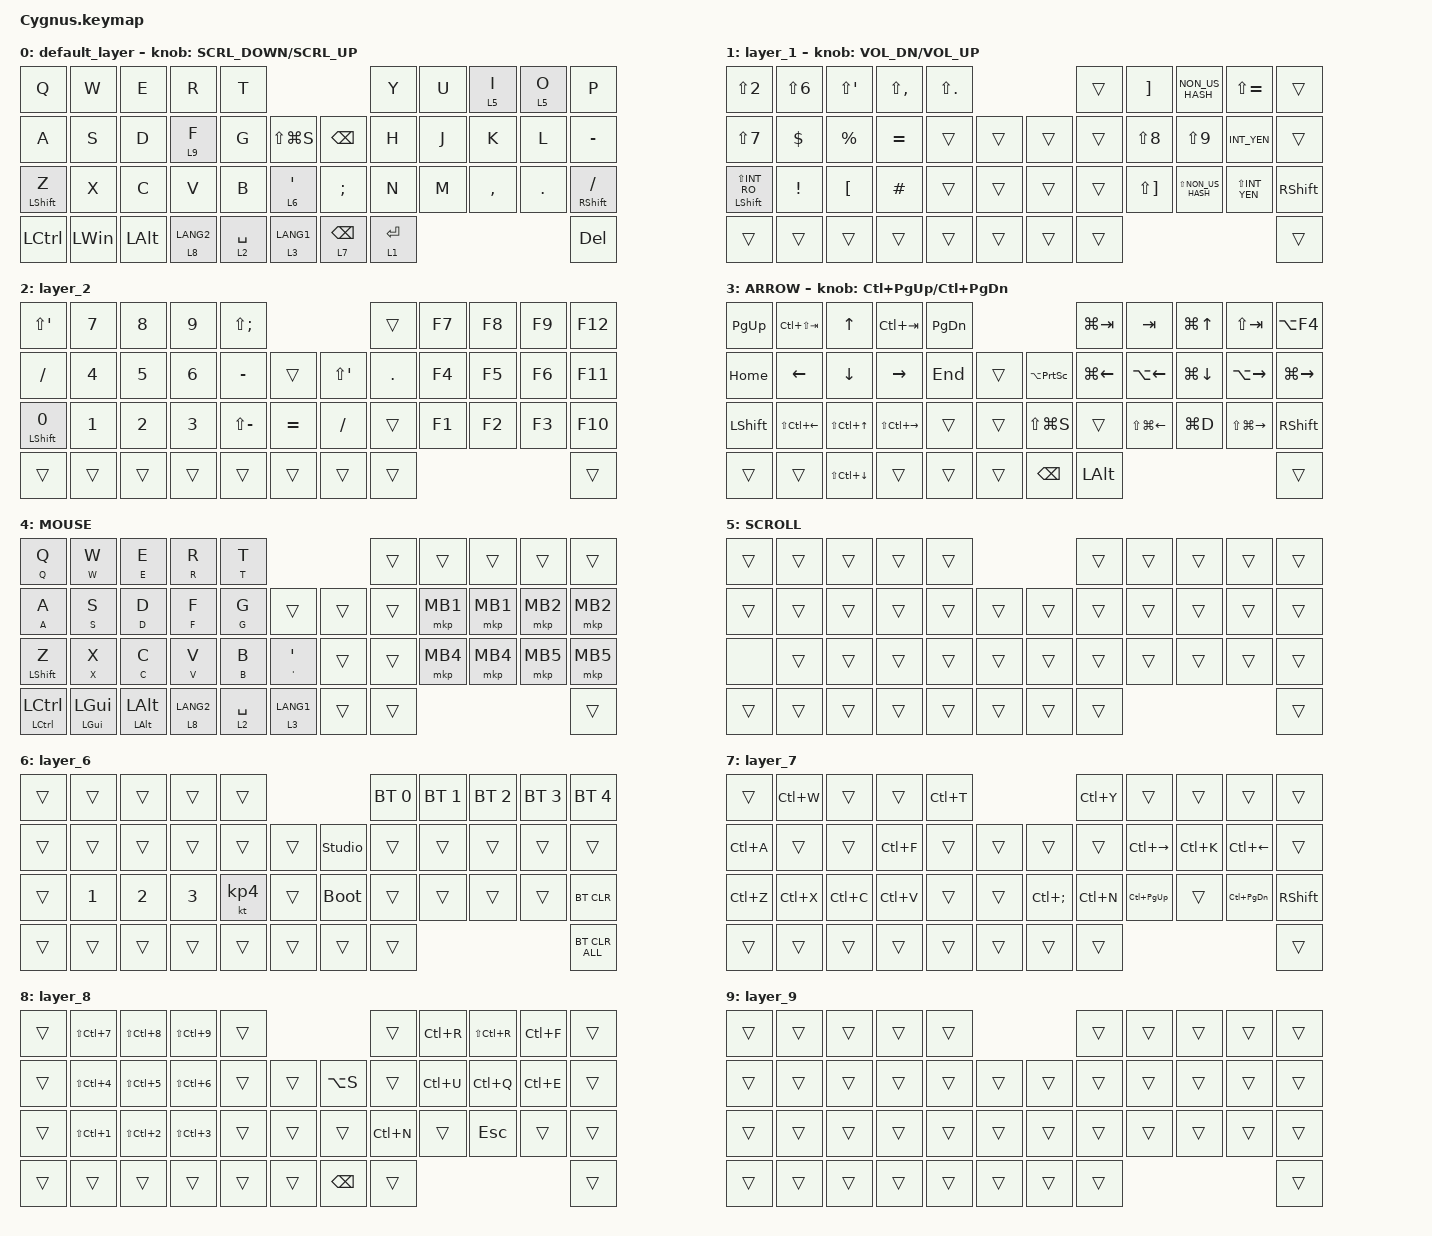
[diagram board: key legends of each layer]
#include <behaviors.dtsi>
#include <dt-bindings/zmk/bt.h>
#include <dt-bindings/zmk/keys.h>
#include <dt-bindings/zmk/pointing.h>

/* 警告回避のためのリセット */

#undef ZMK_POINTING_DEFAULT_SCRL_VAL

#define ZMK_POINTING_DEFAULT_SCRL_VAL 120
#define MOUSE 4
#define SCROLL 5
#define NUM 6

/* 💡追加：スナイパーレイヤーを最新構成に合わせて「9」として定義 */

#define SNIPER 9

// --- Global Settings ---

&mmv {
    delay-ms = <20>;
    trigger-period-ms = <5>;
    time-to-max-speed-ms = <100>;
    acceleration-exponent = <2>;
};

&msc {
    delay-ms = <3>;
    trigger-period-ms = <3>;
    time-to-max-speed-ms = <100>;
    acceleration-exponent = <0>;
};

&mt {
    flavor = "balanced";
    quick-tap-ms = <0>;
};

/ {
    /* ─── オートマウスレイヤー（AML）の機能定義 ─── */

    zip_temp_layer: zip_temp_layer {
        compatible = "zmk,input-processor-temp-layer";
        #input-processor-cells = <2>;

        /* 誤爆防止：200msの保護 */

        require-prior-idle-ms = <200>;

        /* マウスキーを押したときはレイヤーを維持するキーポジション */

        excluded-positions = <18 19 20 21 30 31 32 33>;
    };

    combos {
        compatible = "zmk,combos";

        double_quotation {
            bindings = <&kp DOUBLE_QUOTES>;
            key-positions = <20 21>;
        };

        tab {
            bindings = <&kp TAB>;
            key-positions = <11 12>;
        };

        shift_tab {
            bindings = <&kp LS(TAB)>;
            key-positions = <12 13>;
        };

        muhenkan {
            bindings = <&kp INT5>;
            key-positions = <23 22>;
            layers = <0>;
        };

        COMBO_ESC {
            bindings = <&kp ESC>;
            key-positions = <0 1>;
        };
    };

    macros {
        to_layer_0: to_layer_0 {
            compatible = "zmk,behavior-macro-one-param";
            #binding-cells = <1>;
            bindings = <&to 0 &macro_param_1to1 &kp MACRO_PLACEHOLDER>;
            label = "TO_LAYER_0";
        };

        to_0_kp: to_0_kp {
            compatible = "zmk,behavior-macro-one-param";
            #binding-cells = <1>;
            bindings = <&to 0 &macro_param_1to1 &kp MACRO_PLACEHOLDER>;
            label = "TO_0_KP";
        };
    };

    behaviors {
        lt_to_layer_0: lt_to_layer_0 {
            compatible = "zmk,behavior-hold-tap";
            label = "LAYER_TAP_TO_0";
            bindings = <&mo>, <&to_layer_0>;

            #binding-cells = <2>;
            tapping-term-ms = <200>;
        };

        ROTATE: ROTATE {
            compatible = "zmk,behavior-sensor-rotate-var";
            label = "ROTATE";
            #sensor-binding-cells = <2>;
            bindings = <&msc>, <&msc>;

            tap-ms = <20>;
        };

        tm0: to_layer_0_key_press {
            compatible = "zmk,behavior-hold-tap";
            label = "TO_LAYER_0_KEY_PRESS";
            #binding-cells = <2>;
            tapping-term-ms = <200>;
            flavor = "tap-preferred";
            bindings = <&kp>, <&to_0_kp>;
        };

        lt_to_l3: lt_to_l3 {
            compatible = "zmk,behavior-hold-tap";
            label = "LT_TO_L3";
            #binding-cells = <2>;
            flavor = "tap-unless-interrupted";
            tapping-term-ms = <200>;
            bindings = <&mo>, <&to_0_kp>;
        };

        lt_to_l2: lt_to_l2 {
            compatible = "zmk,behavior-hold-tap";
            label = "LT_TO_L2";
            #binding-cells = <2>;
            flavor = "tap-unless-interrupted";
            tapping-term-ms = <200>;
            bindings = <&mo>, <&to_0_kp>;
        };

        lt_to_l10: lt_to_l10 {
            compatible = "zmk,behavior-hold-tap";
            label = "LT_TO_L10";
            #binding-cells = <2>;
            flavor = "tap-unless-interrupted";
            tapping-term-ms = <200>;
            bindings = <&mo>, <&to_0_kp>;
        };

        /* 💡追加：Fキー用のスナイパーモード（文字入力時は150msの保護インターロックが働く） */

        lt_sniper: lt_sniper {
            compatible = "zmk,behavior-hold-tap";
            label = "LT_SNIPER";
            #binding-cells = <2>;
            flavor = "tap-preferred";
            tapping-term-ms = <200>;
            require-prior-idle-ms = <150>;
            bindings = <&mo>, <&kp>;
        };
    };

    keymap {
        compatible = "zmk,keymap";

        default_layer {
            bindings = <
&kp Q             &kp W         &kp E         &kp R           &kp T                                                 &kp Y        &kp U  &lt 5 I    &lt 5 O  &kp P
&kp A             &kp S         &kp D         &lt_sniper 9 F  &kp G        &kp LS(LG(S))           &kp BACKSPACE    &kp H        &kp J  &kp K      &kp L    &kp MINUS
&mt LEFT_SHIFT Z  &kp X         &kp C         &kp V           &kp B        &lt 6 SINGLE_QUOTE      &kp SEMICOLON    &kp N        &kp M  &kp COMMA  &kp DOT  &mt RIGHT_SHIFT SLASH
&kp LCTRL         &kp LEFT_WIN  &kp LEFT_ALT  &lt 8 LANG2     &lt 2 SPACE  &lt 3 LANG1             &lt 7 BACKSPACE  &lt 1 ENTER                             &kp DEL
            >;

            sensor-bindings = <&ROTATE SCRL_DOWN SCRL_UP>;
        };

        layer_1 {
            bindings = <
&kp LS(NUMBER_2)           &kp LS(NUMBER_6)  &kp LS(SINGLE_QUOTE)  &kp LS(COMMA)  &kp LS(DOT)                      &trans  &kp RIGHT_BRACKET      &kp NON_US_HASH      &kp LS(EQUAL)    &trans
&kp LS(NUMBER_7)           &kp DOLLAR        &kp PERCENT           &kp EQUAL      &trans       &trans      &trans  &trans  &kp LS(NUMBER_8)       &kp LS(NUMBER_9)     &kp INT_YEN      &trans
&mt LEFT_SHIFT LS(INT_RO)  &kp EXCLAMATION   &kp LEFT_BRACKET      &kp HASH       &trans       &trans      &trans  &trans  &kp LS(RIGHT_BRACKET)  &kp LS(NON_US_HASH)  &kp LS(INT_YEN)  &kp RIGHT_SHIFT
&trans                     &trans            &trans                &trans         &trans       &trans      &trans  &trans                                                               &trans
            >;

            sensor-bindings = <&inc_dec_kp C_VOL_DN C_VOL_UP>;
        };

        layer_2 {
            bindings = <
&kp LS(APOS)       &kp N7  &kp N8  &kp N9  &kp LS(SEMICOLON)                               &trans      &kp F7  &kp F8  &kp F9  &kp F12
&kp SLASH          &kp N4  &kp N5  &kp N6  &kp MINUS          &trans         &kp LS(APOS)  &kp PERIOD  &kp F4  &kp F5  &kp F6  &kp F11
&mt LEFT_SHIFT N0  &kp N1  &kp N2  &kp N3  &kp LS(MINUS)      &kp EQUAL      &kp SLASH     &trans      &kp F1  &kp F2  &kp F3  &kp F10
&trans             &trans  &trans  &trans  &trans             &trans         &trans        &trans                              &trans
            >;
        };

        ARROW {
            bindings = <
&kp PG_UP       &kp LC(LS(TAB))   &kp UP_ARROW          &kp LC(TAB)        &kp PG_DN                                   &kp LG(TAB)   &kp TAB             &kp LG(UP_ARROW)  &kp LS(TAB)        &kp LA(F4)
&kp HOME        &kp LEFT_ARROW    &kp DOWN_ARROW        &kp RIGHT_ARROW    &kp END    &trans      &kp LA(PRINTSCREEN)  &kp LG(LEFT)  &kp LA(LEFT_ARROW)  &kp LG(DOWN)      &kp LA(RIGHT)      &kp LG(RIGHT)
&kp LEFT_SHIFT  &kp LS(LC(LEFT))  &kp LS(LC(UP_ARROW))  &kp LS(LC(RIGHT))  &trans     &trans      &kp LS(LG(S))        &trans        &kp LS(LG(LEFT))    &kp LG(D)         &kp LS(LG(RIGHT))  &kp RIGHT_SHIFT
&trans          &trans            &kp LS(LC(DOWN))      &trans             &trans     &trans      &kp BACKSPACE        &kp LEFT_ALT                                                           &trans
            >;

            sensor-bindings = <&inc_dec_kp LC(PAGE_UP) LC(PAGE_DOWN)>;
        };

        MOUSE {
            bindings = <
&tm0 Q Q           &tm0 W W                &tm0 E E                &tm0 R R            &tm0 T T                                                   &trans  &trans    &trans    &trans    &trans
&tm0 A A           &tm0 S S                &tm0 D D                &tm0 F F            &tm0 G G           &trans                          &trans  &trans  &mkp MB1  &mkp MB1  &mkp MB2  &mkp MB2
&tm0 LEFT_SHIFT Z  &tm0 X X                &tm0 C C                &tm0 V V            &tm0 B B           &tm0 APOSTROPHE APOSTROPHE      &trans  &trans  &mkp MB4  &mkp MB4  &mkp MB5  &mkp MB5
&tm0 LCTRL LCTRL   &tm0 LEFT_GUI LEFT_GUI  &tm0 LEFT_ALT LEFT_ALT  &lt_to_l10 8 LANG2  &lt_to_l2 2 SPACE  &lt_to_l3 3 LANG1               &trans  &trans                                &trans
            >;
        };

        SCROLL {
            bindings = <
&trans  &trans  &trans  &trans  &trans                      &trans  &trans  &trans  &trans  &trans
&trans  &trans  &trans  &trans  &trans  &trans      &trans  &trans  &trans  &trans  &trans  &trans
&none   &trans  &trans  &trans  &trans  &trans      &trans  &trans  &trans  &trans  &trans  &trans
&trans  &trans  &trans  &trans  &trans  &trans      &trans  &trans                          &trans
            >;
        };

        layer_6 {
            bindings = <
&trans  &trans        &trans        &trans        &trans                                 &bt BT_SEL 0  &bt BT_SEL 1  &bt BT_SEL 2  &bt BT_SEL 3  &bt BT_SEL 4
&trans  &trans        &trans        &trans        &trans     &trans      &studio_unlock  &trans        &trans        &trans        &trans        &trans
&trans  &kp NUMBER_1  &kp NUMBER_2  &kp NUMBER_3  &kt KP_N4  &trans      &bootloader     &trans        &trans        &trans        &trans        &bt BT_CLR
&trans  &trans        &trans        &trans        &trans     &trans      &trans          &trans                                                  &bt BT_CLR_ALL
            >;
        };

        layer_7 {
            bindings = <
&trans     &kp LC(W)  &trans     &trans     &kp LC(T)                                 &kp LC(Y)  &trans         &trans     &trans         &trans
&kp LC(A)  &trans     &trans     &kp LC(F)  &trans     &trans      &trans             &trans     &kp LC(RIGHT)  &kp LC(K)  &kp LC(LEFT)   &trans
&kp LC(Z)  &kp LC(X)  &kp LC(C)  &kp LC(V)  &trans     &trans      &kp LC(SEMICOLON)  &kp LC(N)  &kp LC(PG_UP)  &trans     &kp LC(PG_DN)  &kp RSHFT
&trans     &trans     &trans     &trans     &trans     &trans      &trans             &trans                                              &trans
            >;
        };

        layer_8 {
            bindings = <
&trans  &kp LS(LC(N7))  &kp LS(LC(N8))  &kp LS(LC(N9))  &trans                             &trans     &kp LC(R)  &kp LS(LC(R))  &kp LC(F)  &trans
&trans  &kp LS(LC(N4))  &kp LS(LC(N5))  &kp LS(LC(N6))  &trans  &trans      &kp LA(S)      &trans     &kp LC(U)  &kp LC(Q)      &kp LC(E)  &trans
&trans  &kp LS(LC(N1))  &kp LS(LC(N2))  &kp LS(LC(N3))  &trans  &trans      &trans         &kp LC(N)  &trans     &kp ESC        &trans     &trans
&trans  &trans          &trans          &trans          &trans  &trans      &kp BACKSPACE  &trans                                          &trans
            >;
        };

        /* 💡追加：スナイパーレイヤー（減速専用の透明レイヤー・layer_9） */

        layer_9 {
            bindings = <
&trans  &trans  &trans  &trans  &trans                      &trans  &trans  &trans  &trans  &trans
&trans  &trans  &trans  &trans  &trans  &trans      &trans  &trans  &trans  &trans  &trans  &trans
&trans  &trans  &trans  &trans  &trans  &trans      &trans  &trans  &trans  &trans  &trans  &trans
&trans  &trans  &trans  &trans  &trans  &trans      &trans  &trans                          &trans
            >;
        };
    };
};
